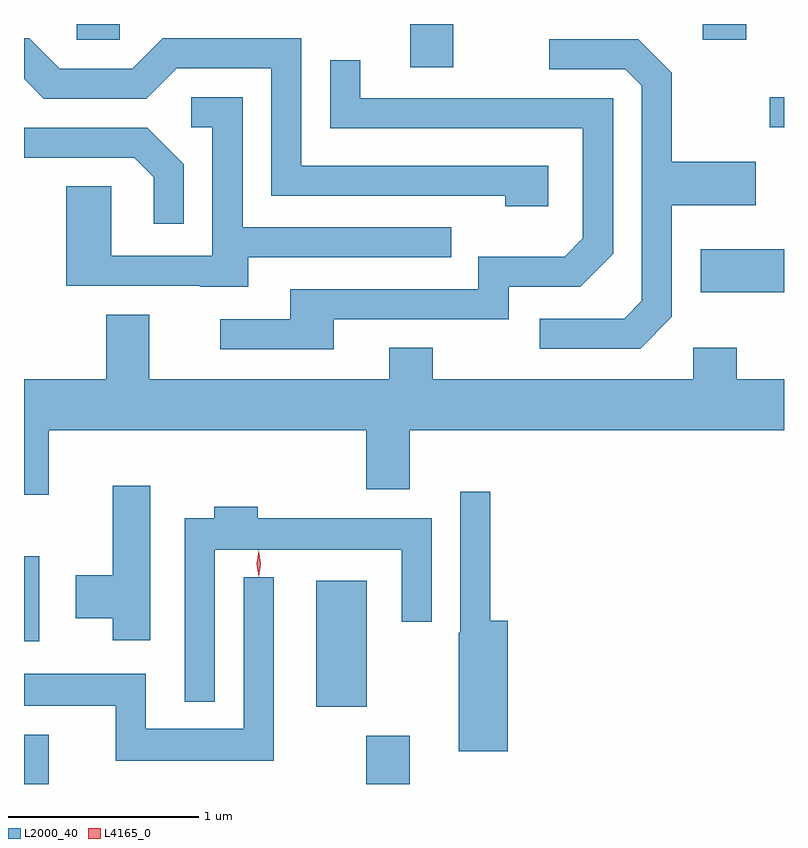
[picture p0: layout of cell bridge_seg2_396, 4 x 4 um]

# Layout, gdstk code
import gdstk
lib = gdstk.Library(unit=1e-6, precision=1e-09)
def R(c, l, rs):  # rectangles x0, y0, x1, y1
    for r in rs: c.add(gdstk.rectangle(r[:2], r[2:], *l))
def P(c, l, *ps):  # polygons
    for p in ps: c.add(gdstk.Polygon(p, *l))
L2000_40 = (2000, 40)
L4165_0 = (4165, 0)

bridge_seg2_396 = lib.new_cell('bridge_seg2_396')
R(bridge_seg2_396, L2000_40, [(628.119,1022.034,628.249,1022.294), (629.921,1022.034,630.149,1022.289), (629.656,1022.441,629.924,1023.104), (628.119,1022.786,628.199,1023.234), (631.681,1024.621,632.119,1024.849), (632.043,1025.491,632.119,1025.649), (630.151,1025.806,630.379,1026.034), (628.396,1025.951,628.624,1026.034), (631.691,1025.951,631.919,1026.034)])
P(bridge_seg2_396, L2000_40, [(630.879,1025.289),(629.579,1025.289),(629.579,1025.959),(628.849,1025.959),(628.689,1025.799),(628.307,1025.799),(628.147,1025.959),(628.119,1025.959),(628.119,1025.746),(628.224,1025.641),(628.762,1025.641),(628.922,1025.801),(629.421,1025.801),(629.421,1025.131),(630.651,1025.131),(630.651,1025.076),(630.879,1025.076)],
  [(631.529,1024.494),(631.529,1025.081),(631.969,1025.081),(631.969,1025.309),(631.529,1025.309),(631.529,1025.777),(631.352,1025.954),(630.883,1025.954),(630.883,1025.796),(631.284,1025.796),(631.371,1025.709),(631.371,1024.577),(631.279,1024.484),(630.833,1024.484),(630.833,1024.326),(631.362,1024.326)],
  [(629.749,1024.481),(630.669,1024.481),(630.669,1024.651),(631.047,1024.651),(631.219,1024.824),(631.219,1025.644),(629.889,1025.644),(629.889,1025.843),(629.731,1025.843),(629.731,1025.486),(631.061,1025.486),(631.061,1024.907),(630.964,1024.809),(630.511,1024.809),(630.511,1024.639),(629.521,1024.639),(629.521,1024.479),(629.153,1024.479),(629.153,1024.321),(629.749,1024.321)],
  [(629.299,1024.806),(630.368,1024.806),(630.368,1024.964),(629.269,1024.964),(629.269,1025.649),(628.998,1025.649),(628.998,1025.491),(629.111,1025.491),(629.111,1024.814),(628.579,1024.814),(628.579,1025.179),(628.341,1025.179),(628.341,1024.656),(629.045,1024.656),(629.045,1024.651),(629.299,1024.651)],
  [(628.959,1025.296),(628.767,1025.489),(628.119,1025.489),(628.119,1025.331),(628.699,1025.331),(628.801,1025.228),(628.801,1024.983),(628.959,1024.983)],
  [(628.249,1023.896),(629.921,1023.896),(629.921,1023.586),(630.149,1023.586),(630.149,1023.896),(632.119,1023.896),(632.119,1024.164),(631.869,1024.164),(631.869,1024.329),(631.641,1024.329),(631.641,1024.164),(630.269,1024.164),(630.269,1024.329),(630.041,1024.329),(630.041,1024.164),(628.779,1024.164),(628.779,1024.504),(628.551,1024.504),(628.551,1024.164),(628.119,1024.164),(628.119,1023.556),(628.249,1023.556)],
  [(628.784,1023.604),(628.586,1023.604),(628.586,1023.134),(628.391,1023.134),(628.391,1022.906),(628.586,1022.906),(628.586,1022.791),(628.784,1022.791)],
  [(630.664,1022.894),(630.574,1022.894),(630.574,1023.573),(630.416,1023.573),(630.416,1022.83),(630.406,1022.83),(630.406,1022.206),(630.664,1022.206)],
  [(629.124,1023.266),(630.106,1023.266),(630.106,1022.888),(630.264,1022.888),(630.264,1023.434),(629.349,1023.434),(629.349,1023.494),(629.121,1023.494),(629.121,1023.434),(628.966,1023.434),(628.966,1022.468),(629.124,1022.468)],
  [(629.434,1023.123),(629.276,1023.123),(629.276,1022.324),(628.759,1022.324),(628.759,1022.614),(628.119,1022.614),(628.119,1022.446),(628.601,1022.446),(628.601,1022.156),(629.434,1022.156)])
P(bridge_seg2_396, L4165_0, [(629.354,1023.127),(629.354,1023.127),(629.344,1023.194),(629.354,1023.26),(629.354,1023.261),(629.355,1023.26),(629.364,1023.194),(629.355,1023.127)],
  [(629.354,1023.124),(629.354,1023.124),(629.344,1023.193),(629.354,1023.262),(629.354,1023.263),(629.355,1023.262),(629.364,1023.193),(629.355,1023.124)])

lib.write_gds('bridge_seg2_396.gds')
